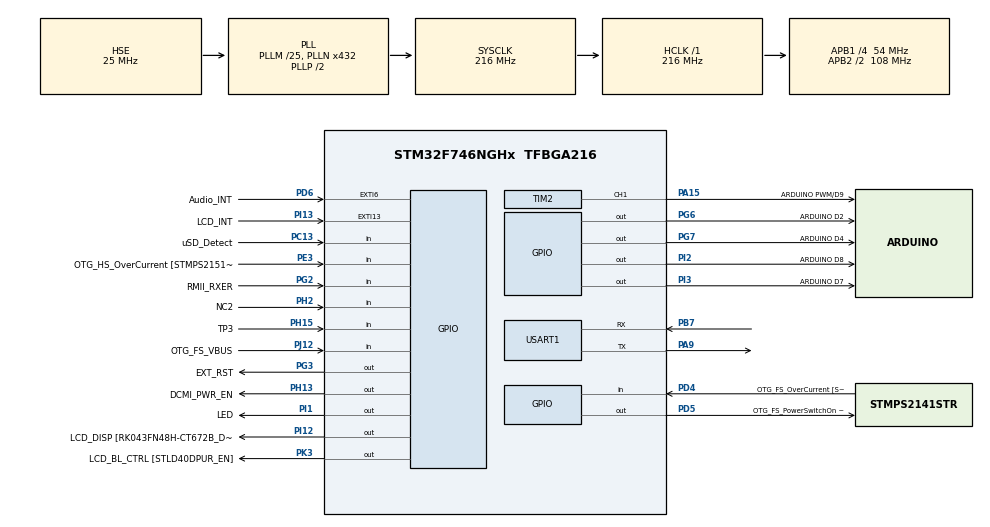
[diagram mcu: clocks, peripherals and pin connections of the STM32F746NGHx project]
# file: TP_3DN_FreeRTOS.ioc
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FREERTOS.Tasks01=defaultTask,0,128,StartDefaultTask,Default,NULL,Dynamic,NULL,NULL
FREERTOS.configCHECK_FOR_STACK_OVERFLOW=2
FREERTOS.configGENERATE_RUN_TIME_STATS=1
FREERTOS.configRECORD_STACK_HIGH_ADDRESS=1
FREERTOS.configTOTAL_HEAP_SIZE=153600
FREERTOS.configUSE_NEWLIB_REENTRANT=1
FREERTOS.configUSE_STATS_FORMATTING_FUNCTIONS=1
FREERTOS.configUSE_TRACE_FACILITY=1
Mcu.Family=STM32F7
Mcu.Name=STM32F746NGHx
Mcu.Package=TFBGA216
NVIC.PriorityGroup=NVIC_PRIORITYGROUP_4
NVIC.TIM6_DAC_IRQn=true\:15\:0\:false\:false\:true\:false\:false\:true\:true
NVIC.TimeBase=TIM6_DAC_IRQn
NVIC.TimeBaseIP=TIM6
NVIC.USART1_IRQn=true\:5\:0\:false\:false\:true\:true\:true\:true\:true
PA0/WKUP.GPIO_Label=ARDUINO A0
PA0/WKUP.GPIO_Mode=GPIO_MODE_ANALOG
PA0/WKUP.GPIO_PuPd=GPIO_NOPULL
PA0/WKUP.Signal=ADCx_IN0
PA1.GPIO_Label=RMII_REF_CLK [LAN8742A-CZ-TR_REFCLK0]
PA1.Signal=ETH_REF_CLK
PA10.GPIO_Label=OTG_FS_ID
PA10.Signal=USB_OTG_FS_ID
PA11.GPIO_Label=OTG_FS_N
PA11.Signal=USB_OTG_FS_DM
PA12.GPIO_Label=OTG_FS_P
PA12.Signal=USB_OTG_FS_DP
PA13.GPIO_Label=SWDIO
PA13.Mode=Serial_Wire
PA13.Signal=SYS_JTMS-SWDIO
PA14.GPIO_Label=SWCLK
PA14.Mode=Serial_Wire
PA14.Signal=SYS_JTCK-SWCLK
PA15.GPIO_Label=ARDUINO PWM/D9
PA15.GPIO_ModeDefaultPP=GPIO_MODE_AF_PP
PA15.GPIO_PuPd=GPIO_NOPULL
PA15.GPIO_Speed=GPIO_SPEED_FREQ_LOW
PA15.Signal=S_TIM2_CH1_ETR
PA2.GPIO_Label=RMII_MDIO [LAN8742A-CZ-TR_MDIO]
PA2.Signal=ETH_MDIO
PA3.GPIO_Label=ULPI_D0 [USB3320C-EZK_D0]
PA3.Signal=USB_OTG_HS_ULPI_D0
PA4.GPIO_Label=DCMI_HSYNC
PA4.Signal=DCMI_HSYNC
PA5.GPIO_Label=ULPI_CLK [USB3320C-EZK_CLKOUT]
PA5.Signal=USB_OTG_HS_ULPI_CK
PA6.Signal=DCMI_PIXCLK
PA7.GPIO_Label=RMII_CRS_DV [LAN8742A-CZ-TR_CRS_DV]
PA7.Signal=ETH_CRS_DV
PA8.GPIO_Label=ARDUINO PWM/D10
PA8.GPIO_ModeDefaultPP=GPIO_MODE_AF_PP
PA8.GPIO_PuPd=GPIO_NOPULL
PA8.GPIO_Speed=GPIO_SPEED_FREQ_LOW
PA8.Signal=S_TIM1_CH1
PA9.Mode=Asynchronous
PA9.Signal=USART1_TX
PB0.GPIO_Label=ULPI_D1 [USB3320C-EZK_D1]
PB0.Signal=USB_OTG_HS_ULPI_D1
PB1.GPIO_Label=ULPI_D2 [USB3320C-EZK_D2]
PB1.Signal=USB_OTG_HS_ULPI_D2
PB10.GPIO_Label=ULPI_D3 [USB3320C-EZK_D3]
PB10.Signal=USB_OTG_HS_ULPI_D3
PB11.GPIO_Label=ULPI_D4 [USB3320C-EZK_D4]
PB11.Signal=USB_OTG_HS_ULPI_D4
PB12.GPIO_Label=ULPI_D5 [USB3320C-EZK_D5]
PB12.Signal=USB_OTG_HS_ULPI_D5
PB13.GPIO_Label=ULPI_D6 [USB3320C-EZK_D6]
PB13.Signal=USB_OTG_HS_ULPI_D6
PB14.GPIO_Label=ARDUINO MISO/D12
PB14.GPIO_Mode=GPIO_MODE_AF_PP
PB14.GPIO_PuPd=GPIO_NOPULL
PB14.GPIO_Speed=GPIO_SPEED_FREQ_LOW
PB14.Signal=SPI2_MISO
PB15.GPIO_Label=ARDUINO MOSI/PWM/D11
PB15.GPIO_Mode=GPIO_MODE_AF_PP
PB15.GPIO_PuPd=GPIO_NOPULL
PB15.GPIO_Speed=GPIO_SPEED_FREQ_LOW
PB15.Signal=SPI2_MOSI
PB2.Signal=QUADSPI_CLK
PB3.GPIO_Label=SWO
PB3.Signal=SYS_JTDO-SWO
PB4.GPIO_Label=ARDUINO PWM/D3
PB4.GPIO_ModeDefaultPP=GPIO_MODE_AF_PP
PB4.GPIO_PuPd=GPIO_NOPULL
PB4.GPIO_Speed=GPIO_SPEED_FREQ_LOW
PB4.Signal=S_TIM3_CH1
PB5.GPIO_Label=ULPI_D7 [USB3320C-EZK_D7]
PB5.Signal=USB_OTG_HS_ULPI_D7
PB6.GPIO_Label=QSPI_NCS [N25Q128A13EF840E_S]
PB6.Signal=QUADSPI_BK1_NCS
PB7.Mode=Asynchronous
PB7.Signal=USART1_RX
PB8.GPIO_Label=ARDUINO SCL/D15
PB8.GPIO_Mode=GPIO_MODE_AF_OD
PB8.GPIO_PuPd=GPIO_NOPULL
PB8.GPIO_Speed=GPIO_SPEED_FREQ_LOW
PB8.Signal=I2C1_SCL
PB9.GPIO_Label=ARDUINO SDA/D14
PB9.GPIO_Mode=GPIO_MODE_AF_OD
PB9.GPIO_PuPd=GPIO_NOPULL
PB9.GPIO_Speed=GPIO_SPEED_FREQ_LOW
PB9.Signal=I2C1_SDA
PC0.GPIO_Label=ULPI_STP [USB3320C-EZK_STP]
PC0.Signal=USB_OTG_HS_ULPI_STP
PC1.GPIO_Label=RMII_MDC [LAN8742A-CZ-TR_MDC]
PC1.Signal=ETH_MDC
PC10.GPIO_Label=SDMMC_D2
PC10.Signal=SDMMC1_D2
PC11.GPIO_Label=SDMMC_D3
PC11.Signal=SDMMC1_D3
PC12.GPIO_Label=SDMMC_CK
PC12.Signal=SDMMC1_CK
PC13.GPIO_Label=uSD_Detect
PC13.Signal=GPIO_Input
PC14/OSC32_IN.GPIO_Label=RCC_OSC32_IN
PC14/OSC32_IN.Signal=RCC_OSC32_IN
PC15/OSC32_OUT.GPIO_Label=RCC_OSC32_OUT
PC15/OSC32_OUT.Signal=RCC_OSC32_OUT
PC2.GPIO_Label=ULPI_DIR [USB3320C-EZK_DIR]
PC2.Signal=USB_OTG_HS_ULPI_DIR
PC3.GPIO_Label=FMC_SDCKE0 [MT48LC4M32B2B5-6A_CKE]
PC3.Signal=FMC_SDCKE0
PC4.GPIO_Label=RMII_RXD0 [LAN8742A-CZ-TR_RXD0]
PC4.Signal=ETH_RXD0
PC5.GPIO_Label=RMII_RXD1 [LAN8742A-CZ-TR_RXD1]
PC5.Signal=ETH_RXD1
PC6.GPIO_Label=ARDUINO TX/D1
PC6.Signal=USART6_TX
PC7.GPIO_Label=ARDUINO RX/D0
PC7.Signal=USART6_RX
PC8.Signal=SDMMC1_D0
PC9.Signal=SDMMC1_D1
PD0.GPIO_Label=FMC_D2 [MT48LC4M32B2B5-6A_DQ2]
PD0.Signal=FMC_D2_DA2
PD1.GPIO_Label=FMC_D3 [MT48LC4M32B2B5-6A_DQ3]
PD1.Signal=FMC_D3_DA3
PD10.GPIO_Label=FMC_D15 [MT48LC4M32B2B5-6A_DQ15]
PD10.Signal=FMC_D15_DA15
PD11.GPIO_Label=QSPI_D0 [N25Q128A13EF840E_DQ0]
PD11.Signal=QUADSPI_BK1_IO0
PD12.GPIO_Label=QSPI_D1 [N25Q128A13EF840E_DQ1]
PD12.Signal=QUADSPI_BK1_IO1
PD13.GPIO_Label=QSPI_D3 [N25Q128A13EF840E_DQ3]
PD13.Signal=QUADSPI_BK1_IO3
PD14.GPIO_Label=FMC_D0 [MT48LC4M32B2B5-6A_DQ0]
PD14.Signal=FMC_D0_DA0
PD15.GPIO_Label=FMC_D1 [MT48LC4M32B2B5-6A_DQ1]
PD15.Signal=FMC_D1_DA1
PD2.GPIO_Label=SDMMC_D0
PD2.Signal=SDMMC1_CMD
PD3.GPIO_Label=DCMI_D5
PD3.Signal=DCMI_D5
PD4.GPIO_Label=OTG_FS_OverCurrent [STMPS2141STR_Fault]
PD4.Signal=GPIO_Input
PD5.GPIO_Label=OTG_FS_PowerSwitchOn [STMPS2141STR_EN]
PD5.PinState=GPIO_PIN_SET
PD5.Signal=GPIO_Output
PD6.GPIO_Label=Audio_INT
PD6.GPIO_ModeDefaultEXTI=GPIO_MODE_EVT_RISING
PD6.Signal=GPXTI6
PD7.GPIO_Label=SPDIF_RX0 [74LVC1G04SE_4]
PD7.Signal=SPDIFRX_IN0
PD8.GPIO_Label=FMC_D13 [MT48LC4M32B2B5-6A_DQ13]
PD8.Signal=FMC_D13_DA13
PD9.GPIO_Label=FMC_D14 [MT48LC4M32B2B5-6A_DQ14]
PD9.Signal=FMC_D14_DA14
PE0.GPIO_Label=FMC_NBL0 [MT48LC4M32B2B5-6A_DQM0]
PE0.Signal=FMC_NBL0
PE1.GPIO_Label=FMC_NBL1 [MT48LC4M32B2B5-6A_DQM1]
PE1.Signal=FMC_NBL1
PE10.GPIO_Label=FMC_D7 [MT48LC4M32B2B5-6A_DQ7]
PE10.Signal=FMC_D7_DA7
PE11.GPIO_Label=FMC_D8 [MT48LC4M32B2B5-6A_DQ8]
PE11.Signal=FMC_D8_DA8
PE12.GPIO_Label=FMC_D9 [MT48LC4M32B2B5-6A_DQ9]
PE12.Signal=FMC_D9_DA9
PE13.GPIO_Label=FMC_D10 [MT48LC4M32B2B5-6A_DQ10]
PE13.Signal=FMC_D10_DA10
PE14.GPIO_Label=FMC_D11 [MT48LC4M32B2B5-6A_DQ11]
PE14.Signal=FMC_D11_DA11
PE15.GPIO_Label=FMC_D12 [MT48LC4M32B2B5-6A_DQ12]
PE15.Signal=FMC_D12_DA12
PE2.GPIO_Label=QSPI_D2 [N25Q128A13EF840E_DQ2]
PE2.Signal=QUADSPI_BK1_IO2
PE3.GPIO_Label=OTG_HS_OverCurrent [STMPS2151STR_FAULT]
PE3.Signal=GPIO_Input
PE4.GPIO_Label=LCD_B0 [RK043FN48H-CT672B_B0]
PE4.Signal=LTDC_B0
PE5.GPIO_Label=DCMI_D6
PE5.Signal=DCMI_D6
PE6.GPIO_Label=DCMI_D7
PE6.Signal=DCMI_D7
PE7.GPIO_Label=FMC_D4 [MT48LC4M32B2B5-6A_DQ4]
PE7.Signal=FMC_D4_DA4
PE8.GPIO_Label=FMC_D5 [MT48LC4M32B2B5-6A_DQ5]
PE8.Signal=FMC_D5_DA5
PE9.GPIO_Label=FMC_D6 [MT48LC4M32B2B5-6A_DQ6]
PE9.Signal=FMC_D6_DA6
PF0.GPIO_Label=FMC_A0 [MT48LC4M32B2B5-6A_A0]
PF0.Signal=FMC_A0
PF1.GPIO_Label=FMC_A1 [MT48LC4M32B2B5-6A_A1]
PF1.Signal=FMC_A1
PF10.GPIO_Label=ARDUINO A1
PF10.GPIO_Mode=GPIO_MODE_ANALOG
PF10.GPIO_PuPd=GPIO_NOPULL
PF10.Signal=ADC3_IN8
PF11.GPIO_Label=FMC_SDNRAS [MT48LC4M32B2B5-6A_RAS]
PF11.Signal=FMC_SDNRAS
PF12.GPIO_Label=FMC_A6 [MT48LC4M32B2B5-6A_A6]
PF12.Signal=FMC_A6
PF13.GPIO_Label=FMC_A7 [MT48LC4M32B2B5-6A_A7]
PF13.Signal=FMC_A7
PF14.GPIO_Label=FMC_A8 [MT48LC4M32B2B5-6A_A8]
PF14.Signal=FMC_A8
PF15.GPIO_Label=FMC_A9 [MT48LC4M32B2B5-6A_A9]
PF15.Signal=FMC_A9
PF2.GPIO_Label=FMC_A2 [MT48LC4M32B2B5-6A_A2]
PF2.Signal=FMC_A2
PF3.GPIO_Label=FMC_A3 [MT48LC4M32B2B5-6A_A3]
PF3.Signal=FMC_A3
PF4.GPIO_Label=FMC_A4 [MT48LC4M32B2B5-6A_A4]
PF4.Signal=FMC_A4
PF5.GPIO_Label=FMC_A5 [MT48LC4M32B2B5-6A_A5]
PF5.Signal=FMC_A5
PF6.GPIO_Label=ARDUINO A5
PF6.GPIO_Mode=GPIO_MODE_ANALOG
PF6.GPIO_PuPd=GPIO_NOPULL
PF6.Signal=ADC3_IN4
PF7.GPIO_Label=ARDUINO A4
PF7.GPIO_Mode=GPIO_MODE_ANALOG
PF7.GPIO_PuPd=GPIO_NOPULL
PF7.Signal=ADC3_IN5
PF8.GPIO_Label=ARDUINO A3
PF8.GPIO_Mode=GPIO_MODE_ANALOG
PF8.GPIO_PuPd=GPIO_NOPULL
PF8.Signal=ADC3_IN6
PF9.GPIO_Label=ARDUINO A2
PF9.GPIO_Mode=GPIO_MODE_ANALOG
PF9.GPIO_PuPd=GPIO_NOPULL
PF9.Signal=ADC3_IN7
PG0.GPIO_Label=FMC_A10 [MT48LC4M32B2B5-6A_A10]
PG0.Signal=FMC_A10
PG1.GPIO_Label=FMC_A11 [MT48LC4M32B2B5-6A_A11]
PG1.Signal=FMC_A11
PG10.GPIO_Label=SAI2_SDB [WM8994ECS/R_ADCDAT1]
PG10.Signal=SAI2_SD_B
PG11.GPIO_Label=RMII_TX_EN [LAN8742A-CZ-TR_TXEN]
PG11.Signal=ETH_TX_EN
PG12.GPIO_Label=LCD_B4 [RK043FN48H-CT672B_B4]
PG12.Signal=LTDC_B4
PG13.GPIO_Label=RMII_TXD0 [LAN8742A-CZ-TR_TXD0]
PG13.Signal=ETH_TXD0
PG14.GPIO_Label=RMII_TXD1 [LAN8742A-CZ-TR_TXD1]
PG14.Signal=ETH_TXD1
PG15.GPIO_Label=FMC_SDNCAS [MT48LC4M32B2B5-6A_CAS]
PG15.Signal=FMC_SDNCAS
PG2.GPIO_Label=RMII_RXER
PG2.Signal=GPIO_Input
PG3.GPIO_Label=EXT_RST
PG3.Signal=GPIO_Output
PG4.GPIO_Label=FMC_BA0 [MT48LC4M32B2B5-6A_BA0]
PG4.Signal=FMC_A14_BA0
PG5.GPIO_Label=FMC_BA1 [MT48LC4M32B2B5-6A_BA1]
PG5.Signal=FMC_A15_BA1
PG6.GPIO_Label=ARDUINO D2
PG6.Signal=GPIO_Output
PG7.GPIO_Label=ARDUINO D4
PG7.Signal=GPIO_Output
PG8.GPIO_Label=FMC_SDCLK [MT48LC4M32B2B5-6A_CLK]
PG8.Signal=FMC_SDCLK
PG9.GPIO_Label=DCMI_VSYNC
PG9.Signal=DCMI_VSYNC
PH0/OSC_IN.GPIO_Label=OSC_25M [NZ2520SB-25.00M_OUT]
PH0/OSC_IN.Mode=HSE-External-Oscillator
PH0/OSC_IN.Signal=RCC_OSC_IN
PH1/OSC_OUT.Mode=HSE-External-Oscillator
PH1/OSC_OUT.Signal=RCC_OSC_OUT
PH10.GPIO_Label=DCMI_D1
PH10.Signal=DCMI_D1
PH11.GPIO_Label=DCMI_D2
PH11.Signal=DCMI_D2
PH12.GPIO_Label=DCMI_D3
PH12.Signal=DCMI_D3
PH13.GPIO_Label=DCMI_PWR_EN
PH13.Signal=GPIO_Output
PH14.GPIO_Label=DCMI_D4
PH14.Signal=DCMI_D4
PH15.GPIO_Label=TP3
PH15.Signal=GPIO_Input
PH2.GPIO_Label=NC2
PH2.Signal=GPIO_Input
PH3.GPIO_Label=FMC_SDNE0 [MT48LC4M32B2B5-6A_CS]
PH3.Signal=FMC_SDNE0
PH4.GPIO_Label=ULPI_NXT [USB3320C-EZK_NXT]
PH4.Signal=USB_OTG_HS_ULPI_NXT
PH5.GPIO_Label=FMC_SDNME [MT48LC4M32B2B5-6A_WE]
PH5.Signal=FMC_SDNWE
PH6.GPIO_Label=ARDUINO PWM/D6
PH6.Signal=S_TIM12_CH1
PH7.GPIO_Label=LCD_SCL [RK043FN48H-CT672B_SCL]
PH7.Signal=I2C3_SCL
PH8.GPIO_Label=LCD_SDA [RK043FN48H-CT672B_SDA]
PH8.Signal=I2C3_SDA
PH9.GPIO_Label=DCMI_D0
PH9.Signal=DCMI_D0
PI0.GPIO_Label=ARDUINO PWM/CS/D5
PI0.GPIO_ModeDefaultPP=GPIO_MODE_AF_PP
PI0.GPIO_PuPd=GPIO_NOPULL
PI0.GPIO_Speed=GPIO_SPEED_FREQ_LOW
PI0.Signal=S_TIM5_CH4
PI1.GPIO_Label=LED
PI1.Signal=GPIO_Output
PI10.GPIO_Label=LCD_HSYNC [RK043FN48H-CT672B_HSYNC]
PI10.Signal=LTDC_HSYNC
PI12.GPIO_Label=LCD_DISP [RK043FN48H-CT672B_DISP] 
PI12.Signal=GPIO_Output
PI13.GPIO_Label=LCD_INT
PI13.GPIO_ModeDefaultEXTI=GPIO_MODE_EVT_RISING
PI13.Signal=GPXTI13
PI14.GPIO_Label=LCD_CLK [RK043FN48H-CT672B_CLK]
PI14.Signal=LTDC_CLK
PI15.GPIO_Label=LCD_R0 [RK043FN48H-CT672B_R0]
PI15.Signal=LTDC_R0
PI2.GPIO_Label=ARDUINO D8
PI2.Signal=GPIO_Output
PI3.GPIO_Label=ARDUINO D7
PI3.Signal=GPIO_Output
PI4.GPIO_Label=SAI2_MCLKA [WM8994ECS/R_MCLK1]
PI4.Signal=SAI2_MCLK_A
PI5.GPIO_Label=SAI2_SCKA [WM8994ECS/R_BCLK1]
PI5.Signal=SAI2_SCK_A
PI6.GPIO_Label=SAI2_SDA [WM8994ECS/R_DACDAT1]
PI6.Signal=SAI2_SD_A
PI7.GPIO_Label=SAI2_FSA [WM8994ECS/R_LRCLK1]
PI7.Signal=SAI2_FS_A
PI8.GPIO_Label=NC1 [TP2]
PI8.Signal=RTC_TS
PI9.GPIO_Label=LCD_VSYNC [RK043FN48H-CT672B_VSYNC]
PI9.Signal=LTDC_VSYNC
PJ0.GPIO_Label=LCD_R1 [RK043FN48H-CT672B_R1]
PJ0.Signal=LTDC_R1
PJ1.GPIO_Label=LCD_R2 [RK043FN48H-CT672B_R2]
PJ1.Signal=LTDC_R2
PJ10.GPIO_Label=LCD_G3 [RK043FN48H-CT672B_G3]
PJ10.Signal=LTDC_G3
PJ11.GPIO_Label=LCD_G4 [RK043FN48H-CT672B_G4]
PJ11.Signal=LTDC_G4
PJ12.GPIO_Label=OTG_FS_VBUS
PJ12.Signal=GPIO_Input
PJ13.GPIO_Label=LCD_B1 [RK043FN48H-CT672B_B1]
PJ13.Signal=LTDC_B1
PJ14.GPIO_Label=LCD_B2 [RK043FN48H-CT672B_B2]
PJ14.Signal=LTDC_B2
PJ15.GPIO_Label=LCD_B3 [RK043FN48H-CT672B_B3]
PJ15.Signal=LTDC_B3
PJ2.GPIO_Label=LCD_R3 [RK043FN48H-CT672B_R3]
PJ2.Signal=LTDC_R3
PJ3.GPIO_Label=LCD_R4 [RK043FN48H-CT672B_R4]
PJ3.Signal=LTDC_R4
PJ4.GPIO_Label=LCD_R5 [RK043FN48H-CT672B_R5]
PJ4.Signal=LTDC_R5
PJ5.GPIO_Label=LCD_R6 [RK043FN48H-CT672B_R6]
PJ5.Signal=LTDC_R6
PJ6.GPIO_Label=LCD_R7 [RK043FN48H-CT672B_R7]
PJ6.Signal=LTDC_R7
PJ7.GPIO_Label=LCD_G0 [RK043FN48H-CT672B_G0]
PJ7.Signal=LTDC_G0
PJ8.GPIO_Label=LCD_G1 [RK043FN48H-CT672B_G1]
PJ8.Signal=LTDC_G1
PJ9.GPIO_Label=LCD_G2 [RK043FN48H-CT672B_G2]
PJ9.Signal=LTDC_G2
PK0.GPIO_Label=LCD_G5 [RK043FN48H-CT672B_G5]
PK0.Signal=LTDC_G5
PK1.GPIO_Label=LCD_G6 [RK043FN48H-CT672B_G6]
PK1.Signal=LTDC_G6
PK2.GPIO_Label=LCD_G7 [RK043FN48H-CT672B_G7]
PK2.Signal=LTDC_G7
PK3.GPIO_Label=LCD_BL_CTRL [STLD40DPUR_EN]
PK3.Signal=GPIO_Output
PK4.GPIO_Label=LCD_B5 [RK043FN48H-CT672B_B5]
PK4.Signal=LTDC_B5
PK5.GPIO_Label=LCD_B6 [RK043FN48H-CT672B_B6]
PK5.Signal=LTDC_B6
PK6.GPIO_Label=LCD_B7 [RK043FN48H-CT672B_B7]
PK6.Signal=LTDC_B7
PK7.GPIO_Label=LCD_DE [RK043FN48H-CT672B_DE]
PK7.Signal=LTDC_DE
ProjectManager.HeapSize=0x200
ProjectManager.StackSize=0x400
ProjectManager.TargetToolchain=STM32CubeIDE
RCC.AHBFreq_Value=216000000
RCC.APB1CLKDivider=RCC_HCLK_DIV4
RCC.APB1Freq_Value=54000000
RCC.APB1TimFreq_Value=108000000
RCC.APB2CLKDivider=RCC_HCLK_DIV2
RCC.APB2Freq_Value=108000000
RCC.APB2TimFreq_Value=216000000
RCC.CortexFreq_Value=216000000
RCC.HCLKFreq_Value=216000000
RCC.HSE_VALUE=25000000
RCC.HSI_VALUE=16000000
RCC.LSE_VALUE=32768
RCC.PLLM=25
RCC.PLLN=432
RCC.PLLSourceVirtual=RCC_PLLSOURCE_HSE
RCC.SYSCLKFreq_VALUE=216000000
RCC.SYSCLKSource=RCC_SYSCLKSOURCE_PLLCLK
RCC.USBFreq_Value=216000000
RCC.VCOOutputFreq_Value=432000000
SH.ADCx_IN0.0=ADC3_IN0
SH.FMC_A0.0=FMC_A0
SH.FMC_A1.0=FMC_A1
SH.FMC_A10.0=FMC_A10
SH.FMC_A11.0=FMC_A11
SH.FMC_A14_BA0.0=FMC_BA0
SH.FMC_A15_BA1.0=FMC_BA1
SH.FMC_A2.0=FMC_A2
SH.FMC_A3.0=FMC_A3
SH.FMC_A4.0=FMC_A4
SH.FMC_A5.0=FMC_A5
SH.FMC_A6.0=FMC_A6
SH.FMC_A7.0=FMC_A7
SH.FMC_A8.0=FMC_A8
SH.FMC_A9.0=FMC_A9
SH.FMC_D0_DA0.0=FMC_D0
SH.FMC_D10_DA10.0=FMC_D10
SH.FMC_D11_DA11.0=FMC_D11
SH.FMC_D12_DA12.0=FMC_D12
SH.FMC_D13_DA13.0=FMC_D13
SH.FMC_D14_DA14.0=FMC_D14
SH.FMC_D15_DA15.0=FMC_D15
SH.FMC_D1_DA1.0=FMC_D1
SH.FMC_D2_DA2.0=FMC_D2
SH.FMC_D3_DA3.0=FMC_D3
SH.FMC_D4_DA4.0=FMC_D4
SH.FMC_D5_DA5.0=FMC_D5
SH.FMC_D6_DA6.0=FMC_D6
SH.FMC_D7_DA7.0=FMC_D7
SH.FMC_D8_DA8.0=FMC_D8
SH.FMC_D9_DA9.0=FMC_D9
SH.FMC_NBL0.0=FMC_NBL0
SH.FMC_NBL1.0=FMC_NBL1
SH.FMC_SDCLK.0=FMC_SDCLK
SH.FMC_SDNCAS.0=FMC_SDNCAS
SH.FMC_SDNRAS.0=FMC_SDNRAS
SH.FMC_SDNWE.0=FMC_SDNWE
SH.S_TIM12_CH1.0=TIM12_CH1
SH.S_TIM1_CH1.0=TIM1_CH1
SH.S_TIM2_CH1_ETR.0=TIM2_CH1,PWM Generation1 CH1
SH.S_TIM3_CH1.0=TIM3_CH1
SH.S_TIM5_CH4.0=TIM5_CH4
TIM2.Channel-PWM\ Generation1\ CH1=TIM_CHANNEL_1
TIM2.Prescaler=10800
USART1.VirtualMode-Asynchronous=VM_ASYNC
VP_FREERTOS_VS_CMSIS_V1.Mode=CMSIS_V1
VP_SYS_VS_tim6.Mode=TIM6
VP_TIM2_VS_ClockSourceINT.Mode=Internal
board=STM32F746G-DISCO

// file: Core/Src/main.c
/* USER CODE BEGIN Header */
	/**
	******************************************************************************
	* @file           : main.c
	* @brief          : Main program body
	******************************************************************************
	* @attention
	*
	* Copyright (c) 2024 STMicroelectronics.
	* All rights reserved.
	*
	* This software is licensed under terms that can be found in the LICENSE file
	* in the root directory of this software component.
	* If no LICENSE file comes with this software, it is provided AS-IS.
	*
	******************************************************************************
	*/
/* USER CODE END Header */
#include "main.h"
#include "cmsis_os.h"
#include "tim.h"
#include "usart.h"
#include "gpio.h"

/* USER CODE BEGIN Includes */
#include <stdio.h>
#include <stdlib.h>
#include "shell.h"
/* USER CODE END Includes */

/* USER CODE BEGIN PV */
int fonction(int argc, char ** argv);
int addition (int argc, char ** argv);
int led(int argc, char ** argv);
int spam(int argc, char ** argv);

/* USER CODE END PV */

void SystemClock_Config(void);
void MX_FREERTOS_Init(void);

/* USER CODE BEGIN 0 */
////////////////////////////////////////////////////////////////////////////////////
// DECLARATIONS
////////////////////////////////////////////////////////////////////////////////////

SemaphoreHandle_t xSemaphore;
QueueHandle_t QueueHandle;
UBaseType_t uxQueueLength = 10, uxItemSize = sizeof(int);
TaskHandle_t handle_blink_led, handle_echo_uart, handle_givetask,
			handle_taketask, handle_shell, handle_spam, handle_bidon, handle_status;
static int delayLed = 0;
static int delaymsg = 0;
char * msg = "test";
//static int count_bidon = 0;

////////////////////////////////////////////////////////////////////////////////////
// CALLBACKS
////////////////////////////////////////////////////////////////////////////////////

int __io_putchar(int chr) // pour faire des printf parce que printf appelLE cette fonction
{
	HAL_UART_Transmit(&huart1, (uint8_t *)&chr, 1, HAL_MAX_DELAY);

	return chr;
}

void HAL_UART_RxCpltCallback(UART_HandleTypeDef *huart)
{
	if(huart->Instance == USART1) // on s'assure que c'est l'uart1
	{
		BaseType_t xHigherPriorityTaskWoken; //
		vTaskNotifyGiveFromISR( handle_shell, &xHigherPriorityTaskWoken );

		portYIELD_FROM_ISR( xHigherPriorityTaskWoken ); //
	}

}

////////////////////////////////////////////////////////////////////////////////////
// TASKS
////////////////////////////////////////////////////////////////////////////////////

void task_blink_led(void * unused)
{
	for(;;)
	{
	  if(delayLed != 0 )
	  {
		  HAL_GPIO_TogglePin(LED_GPIO_Port, LED_Pin);
		  vTaskDelay(portTICK_PERIOD_MS*delayLed);  }
	  else
	  {
		  HAL_GPIO_WritePin(LED_GPIO_Port, LED_Pin,GPIO_PIN_RESET);
		  vTaskSuspend(handle_blink_led);
	  }
	}
}

void shell(void * unused)
{
	shell_init();
	shell_add('f', fonction, "Une fonction inutile");
	shell_add('a', addition, "Add 2 value");
	shell_add('l', led, "Change led delay (ms)");
	shell_add('s', spam, "spam message");
	shell_add('c', status, "CPU status");

	shell_run();
}

void task_spam(void *unused)
{
	for(;;)
	{
		if(delaymsg !=0)
		{
			printf("%s \r\n", msg);
			vTaskDelay(portTICK_PERIOD_MS*delaymsg);
		}
		else
		{
			vTaskSuspend(handle_spam);
		}
	}
}

void task_status(void *unused)
{
	for(;;)
	{

	}
}

//void task_bidon(void * unused)
//{
//	int tableau_enorme[1000];
//	int i = 0;
//	for(;;)
//	{
//		tableau_enorme[i] = i;
//		i++;
//		printf("tableau_enorme[%d] = %d \r\n",i, tableau_enorme[i]);
//	}
//}

//void task_uart_com_echo(void * unused)
//{
//	for(;;)
//	{
//		char pData;
//		HAL_UART_Receive_IT(&huart1, (uint8_t *)&pData, 1);
//
//		ulTaskNotifyTake( pdTRUE, portMAX_DELAY ); // on admet
//
//		HAL_UART_Transmit(&huart1, (uint8_t *)&pData, 1, HAL_MAX_DELAY);
//
//	}
//}

//void task_give_queue(void * unused)
//{
////	BaseType_t xHigherPriorityTaskWoken; //
//	int q_value_send;
//
//	for(;;)
//	{
//		//notification part
////		for (int i = 0; i < 12; i++)
////		{
////			printf("Task give before give\r\n");
////			xTaskNotifyGive( handle_taketask );
////			printf("Task give after give\r\n");
////			vTaskDelay(portTICK_PERIOD_MS*100*i);
////		}
//
//
//		//queue
//
//		for (int i = 0; i < 20; i++)
//		{
//			q_value_send = i;
//			xQueueSend(QueueHandle, &q_value_send ,portMAX_DELAY);
//			vTaskDelay(portTICK_PERIOD_MS*100*i);
//		}
//
//
//	}
//}
//
//void task_take_queue(void * unused)
//{
////	uint32_t ret;
//	int q_value_receive;
//	BaseType_t ret_q;
//
//	for(;;)
//	{
//		//notifcation part
////		printf("Task take before take\r\n");
////		ret = ulTaskNotifyTake(pdTRUE, 1000);
////		if(ret != pdTRUE)
////		{
////			NVIC_SystemReset();
////			printf("System Reset\r\n");
////		}
////		printf("Task take after take\r\n");
//
//		//queue
//		ret_q = xQueueReceive(QueueHandle, &q_value_receive ,1000);
////		if(ret_q != pdTRUE)
////		{
////			NVIC_SystemReset();
////			printf("System Reset\r\n");
////		}
////		printf("Received %d\r\n", q_value_receive);
//
//	}
//}
//
//void task_give_semaphore(void * unused)
//{
//	for(;;)
//	{
//		//semaphore part
////		printf("Task give before give\r\n");
//		xSemaphoreGive(xSemaphore);
////		printf("Task give after give\r\n");
//		vTaskDelay(portTICK_PERIOD_MS*100);
//	}
//}
//
//void task_take_semaphore(void * unused)
//{
//
//	for(;;)
//	{
//		//semaphore part
////		printf("Task take before take\r\n");
//		xSemaphoreTake(xSemaphore, portMAX_DELAY);
////		printf("Task take after take\r\n");
//
//	}
//}

////////////////////////////////////////////////////////////////////////////////////
// SHELL FUNCTIONS
////////////////////////////////////////////////////////////////////////////////////

int fonction(int argc, char ** argv)
{
	printf("argc = %d\r\n", argc);

	for(int itr = 0; itr < argc; itr++)
	{
		printf("argv[%d] = %s\r\n", itr, argv[itr]);
	}

	return 0;
}

int addition (int argc, char ** argv)
{
	//récupérer deux paramètre ni plus ni moins
	//convertir les deux paramètres en nombres entier
	//les additioners et afficher le résultat

	if(argc != 3)
	{
		//faire planter proprement si on a plus de deux paramètre
		printf("Error, excpected 2 argument\r\n");
		return -1;
	}
	else
	{
		int a,b, result;
		// permet de récupérer les deux paramètres et de les convertir en entier
		a = atoi(argv[1]);
		b = atoi(argv[2]);

		result = a+b;
		printf("%d + %d = %d\r\n", a, b, result);
	}

	return 0;
}

int led(int argc, char ** argv)
{
	if(argc != 2)
	{
		//faire planter proprement si on a plus de deux paramètre
		printf("Error, excpected 1 argument\r\n");
		return -1;
	}
	else
	{
		delayLed = atoi(argv[1]);

		if(delayLed != 0)
		{
			vTaskResume(handle_blink_led);
		}
	}

	return 0;
}

int spam(int argc, char ** argv)
{
	if(argc != 3)
	{
		//faire planter proprement si on a plus de deux paramètre
		printf("Error, excpected 2 argument\r\n");
		return -1;
	}
	else
	{
	    delaymsg = atoi(argv[1]);
		msg = argv[2];

		if(delaymsg != 0)
		{
			vTaskResume(handle_spam);
		}
	}

	return 0;
}

int status(int argc, char ** argv)
{

	return 0;
}

////////////////////////////////////////////////////////////////////////////////////
// OWERFLOW CHECK
////////////////////////////////////////////////////////////////////////////////////

//void vApplicationStackOverflowHook( TaskHandle_t xTask, signed char *pcTaskName )
//{
//	for(;;)
//	{
//		HAL_GPIO_TogglePin(LED_GPIO_Port, LED_Pin);
//		vTaskDelay(portTICK_PERIOD_MS*100);
//	}
//}

////////////////////////////////////////////////////////////////////////////////////
// CPU USE
////////////////////////////////////////////////////////////////////////////////////
void configureTimerForRunTimeStats()
{
	HAL_TIM_Base_Start(&htim2);
}

unsigned long getRunTimeCounterValue()
{
	return __HAL_TIM_GET_COUNTER(&htim2);
}

void vTaskGetRunTimeStats(char * pcWriteBuffer)
{

}

void vTaskList(char * pcWriteBuffer)
{

}

////////////////////////////////////////////////////////////////////////////////////
// MAIN
////////////////////////////////////////////////////////////////////////////////////

/* USER CODE END 0 */

int main(void)
{

  /* MCU Configuration--------------------------------------------------------*/

  /* Reset of all peripherals, Initializes the Flash interface and the Systick. */
  HAL_Init();

  /* Configure the system clock */
  SystemClock_Config();

  /* Initialize all configured peripherals */
  MX_GPIO_Init();
  MX_USART1_UART_Init();
  MX_TIM2_Init();
  /* USER CODE BEGIN 2 */

  BaseType_t ret;

  printf("\r\n================================================================\r\n");

  xSemaphore = xSemaphoreCreateBinary();
  QueueHandle =  xQueueCreate ( uxQueueLength, uxItemSize);

  if(QueueHandle == NULL)
  {
	  printf("Error creating Queue \r\n");
	  Error_Handler();
  }

  ////////////////////////////////////////////////////////////////////////////////////
  // TASK CREATIONS
  ////////////////////////////////////////////////////////////////////////////////////

  //TASK LED
  ret = xTaskCreate(  task_blink_led,
  					"Blink LED",
  					256, // Taille de la pile (en mots de 32 bits)
  					NULL, //paramètre non utilisé ici
  					5, //Prio
  					&handle_blink_led
  				   );
    if(ret != pdPASS)
    {
  	  printf("Error creating Blink LED task\r\n");
  	  Error_Handler();
    }

//    //TASK UART
//    ret = xTaskCreate(  task_uart_com_echo,
//  					"Echo UART",
//  					256, // Taille de la pile (en mots de 32 bits)
//  					NULL, //paramètre non utilisé ici
//  					5, //Prio
//  					&handle_echo_uart
//  				   );
//
//    if(ret != pdPASS)
//    {
//  	  printf("Error creating Echo UART task\r\n");
//  	  Error_Handler();
//    }

//    //TASK GIVE
//    ret = xTaskCreate(  task_give_queue,
//  					"Task Give Queue",
//  					256, // Taille de la pile (en mots de 32 bits)
//  					NULL, //paramètre non utilisé ici
//  					6, //Prio
//  					&handle_givetask
//  				   );
//
//    if(ret != pdPASS)
//    {
//  	  printf("Error creating Task Give task\r\n");
//  	  Error_Handler();
//    }
//
//    //TASK Take
//    ret = xTaskCreate(  task_take_queue,
//    				"Task Take Queue",
//  					256, // Taille de la pile (en mots de 32 bits)
//  					NULL, //paramètre non utilisé ici
//  					8, //Prio
//  					&handle_taketask
//  				   );
//
//    if(ret != pdPASS)
//    {
//  	  printf("Error creating Task Take task\r\n");
//  	  Error_Handler();
//    }
//
//    //TASK GIVE Semaphore
//    ret = xTaskCreate(  task_give_semaphore,
//  					"Task Give Semaphore",
//  					256, // Taille de la pile (en mots de 32 bits)
//  					NULL, //paramètre non utilisé ici
//  					6, //Prio
//  					&handle_givetask
//  				   );
//
//    if(ret != pdPASS)
//    {
//  	  printf("Error creating Task Give task\r\n");
//  	  Error_Handler();
//    }
//
//    //TASK Take Semaphore
//    ret = xTaskCreate(  task_take_semaphore,
//    				"Task Take Semaphore",
//  					256, // Taille de la pile (en mots de 32 bits)
//  					NULL, //paramètre non utilisé ici
//  					8, //Prio
//  					&handle_taketask
//  				   );
//
//    if(ret != pdPASS)
//    {
//  	  printf("Error creating Task Take task\r\n");
//  	  Error_Handler();
//    }

    //TASK Shell
    ret = xTaskCreate(  shell,
    				"SHELL",
  					256, // Taille de la pile (en mots de 32 bits)
  					NULL, //paramètre non utilisé ici
  					10, //Prio
  					&handle_shell
  				   );

    if(ret != pdPASS)
    {
  	  printf("Error creating Task Shell task\r\n");
  	  Error_Handler();
    }

    //TASK spam
    ret = xTaskCreate(  task_spam,
    				"SPAM",
  					256, // Taille de la pile (en mots de 32 bits)
  					NULL, //paramètre non utilisé ici
  					5, //Prio
  					&handle_spam
  				   );

    if(ret != pdPASS)
    {
  	  printf("Error creating Task spam task\r\n");
  	  Error_Handler();
    }

    //TASK status
    ret = xTaskCreate(  task_status,
    				"STATUS",
  					256, // Taille de la pile (en mots de 32 bits)
  					NULL, //paramètre non utilisé ici
  					5, //Prio
  					&handle_status
  				   );

    if(ret != pdPASS)
    {
  	  printf("Error creating Task spam task\r\n");
  	  Error_Handler();
    }

//    //TASK BIDON
//    ret = xTaskCreate(  task_bidon,
//						"bidon",
//						256, // Taille de la pile (en mots de 32 bits)
//						NULL, //paramètre non utilisé ici
//						15, //Prio
//						&handle_bidon
//					   );
//
//	if(ret != pdPASS)
//	{
//	  printf("Error creating Task bidon task\r\n");
//	  Error_Handler();
//	}
//
//    while(1)
//    {
//    	ret = xTaskCreate(  task_bidon,
//    	    				"bidon",
//    	  					256, // Taille de la pile (en mots de 32 bits)
//    	  					NULL, //paramètre non utilisé ici
//    	  					15, //Prio
//    	  					&handle_bidon
//    	  				   );
//
//		if(ret != pdPASS)
//		{
//		  printf("Error creating Task bidon task\r\n");
//		  Error_Handler();
//		}
//		printf("create task %d \r\n", count_bidon);
//		count_bidon ++;
//    }

    printf("Task Creation Successful\r\n");

    ////////////////////////////////////////////////////////////////////////////////////
    // SCHEDULER START
    ////////////////////////////////////////////////////////////////////////////////////

    vTaskStartScheduler(); //Boucle Infinie, rien ne s'execute apres !!!

  /* USER CODE END 2 */

  /* Call init function for freertos objects (in freertos.c) */
  MX_FREERTOS_Init();

  /* Start scheduler */
  osKernelStart();

  /* We should never get here as control is now taken by the scheduler */
  /* Infinite loop */
	while (1)
	{

	}
}

void SystemClock_Config(void)
{
  RCC_OscInitTypeDef RCC_OscInitStruct = {0};
  RCC_ClkInitTypeDef RCC_ClkInitStruct = {0};

  /** Configure the main internal regulator output voltage
  */
  __HAL_RCC_PWR_CLK_ENABLE();
  __HAL_PWR_VOLTAGESCALING_CONFIG(PWR_REGULATOR_VOLTAGE_SCALE1);

  /** Initializes the RCC Oscillators according to the specified parameters
  * in the RCC_OscInitTypeDef structure.
  */
  RCC_OscInitStruct.OscillatorType = RCC_OSCILLATORTYPE_HSE;
  RCC_OscInitStruct.HSEState = RCC_HSE_ON;
  RCC_OscInitStruct.PLL.PLLState = RCC_PLL_ON;
  RCC_OscInitStruct.PLL.PLLSource = RCC_PLLSOURCE_HSE;
  RCC_OscInitStruct.PLL.PLLM = 25;
  RCC_OscInitStruct.PLL.PLLN = 432;
  RCC_OscInitStruct.PLL.PLLP = RCC_PLLP_DIV2;
  RCC_OscInitStruct.PLL.PLLQ = 2;
  if (HAL_RCC_OscConfig(&RCC_OscInitStruct) != HAL_OK)
  {
    Error_Handler();
  }

  /** Activate the Over-Drive mode
  */
  if (HAL_PWREx_EnableOverDrive() != HAL_OK)
  {
    Error_Handler();
  }

  /** Initializes the CPU, AHB and APB buses clocks
  */
  RCC_ClkInitStruct.ClockType = RCC_CLOCKTYPE_HCLK|RCC_CLOCKTYPE_SYSCLK
                              |RCC_CLOCKTYPE_PCLK1|RCC_CLOCKTYPE_PCLK2;
  RCC_ClkInitStruct.SYSCLKSource = RCC_SYSCLKSOURCE_PLLCLK;
  RCC_ClkInitStruct.AHBCLKDivider = RCC_SYSCLK_DIV1;
  RCC_ClkInitStruct.APB1CLKDivider = RCC_HCLK_DIV4;
  RCC_ClkInitStruct.APB2CLKDivider = RCC_HCLK_DIV2;

  if (HAL_RCC_ClockConfig(&RCC_ClkInitStruct, FLASH_LATENCY_7) != HAL_OK)
  {
    Error_Handler();
  }
}

void HAL_TIM_PeriodElapsedCallback(TIM_HandleTypeDef *htim)
{
  if (htim->Instance == TIM6) {
    HAL_IncTick();
  }
}

void Error_Handler(void)
{
	__disable_irq();
	while (1)
	{
	}
}

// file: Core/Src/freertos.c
/* USER CODE BEGIN Header */
/**
  ******************************************************************************
  * File Name          : freertos.c
  * Description        : Code for freertos applications
  ******************************************************************************
  * @attention
  *
  * Copyright (c) 2024 STMicroelectronics.
  * All rights reserved.
  *
  * This software is licensed under terms that can be found in the LICENSE file
  * in the root directory of this software component.
  * If no LICENSE file comes with this software, it is provided AS-IS.
  *
  ******************************************************************************
  */
/* USER CODE END Header */

#include "FreeRTOS.h"
#include "task.h"
#include "main.h"
#include "cmsis_os.h"

osThreadId defaultTaskHandle;

void StartDefaultTask(void const * argument);

void MX_FREERTOS_Init(void); /* (MISRA C 2004 rule 8.1) */

/* GetIdleTaskMemory prototype (linked to static allocation support) */
void vApplicationGetIdleTaskMemory( StaticTask_t **ppxIdleTaskTCBBuffer, StackType_t **ppxIdleTaskStackBuffer, uint32_t *pulIdleTaskStackSize );

/* Hook prototypes */
void configureTimerForRunTimeStats(void);
unsigned long getRunTimeCounterValue(void);
void vApplicationStackOverflowHook(xTaskHandle xTask, signed char *pcTaskName);

/* USER CODE BEGIN 1 */
/* Functions needed when configGENERATE_RUN_TIME_STATS is on */
__weak void configureTimerForRunTimeStats(void)
{

}

__weak unsigned long getRunTimeCounterValue(void)
{
return 0;
}
/* USER CODE END 1 */

/* USER CODE BEGIN 4 */
__weak void vApplicationStackOverflowHook(xTaskHandle xTask, signed char *pcTaskName)
{
   /* Run time stack overflow checking is performed if
   configCHECK_FOR_STACK_OVERFLOW is defined to 1 or 2. This hook function is
   called if a stack overflow is detected. */
}
/* USER CODE END 4 */

/* USER CODE BEGIN GET_IDLE_TASK_MEMORY */
static StaticTask_t xIdleTaskTCBBuffer;
static StackType_t xIdleStack[configMINIMAL_STACK_SIZE];

void vApplicationGetIdleTaskMemory( StaticTask_t **ppxIdleTaskTCBBuffer, StackType_t **ppxIdleTaskStackBuffer, uint32_t *pulIdleTaskStackSize )
{
  *ppxIdleTaskTCBBuffer = &xIdleTaskTCBBuffer;
  *ppxIdleTaskStackBuffer = &xIdleStack[0];
  *pulIdleTaskStackSize = configMINIMAL_STACK_SIZE;
  /* place for user code */
}
/* USER CODE END GET_IDLE_TASK_MEMORY */

void MX_FREERTOS_Init(void) {

  /* Create the thread(s) */
  /* definition and creation of defaultTask */
  osThreadDef(defaultTask, StartDefaultTask, osPriorityNormal, 0, 128);
  defaultTaskHandle = osThreadCreate(osThread(defaultTask), NULL);

}

void StartDefaultTask(void const * argument)
{
  for(;;)
  {
    osDelay(1);
  }
}
